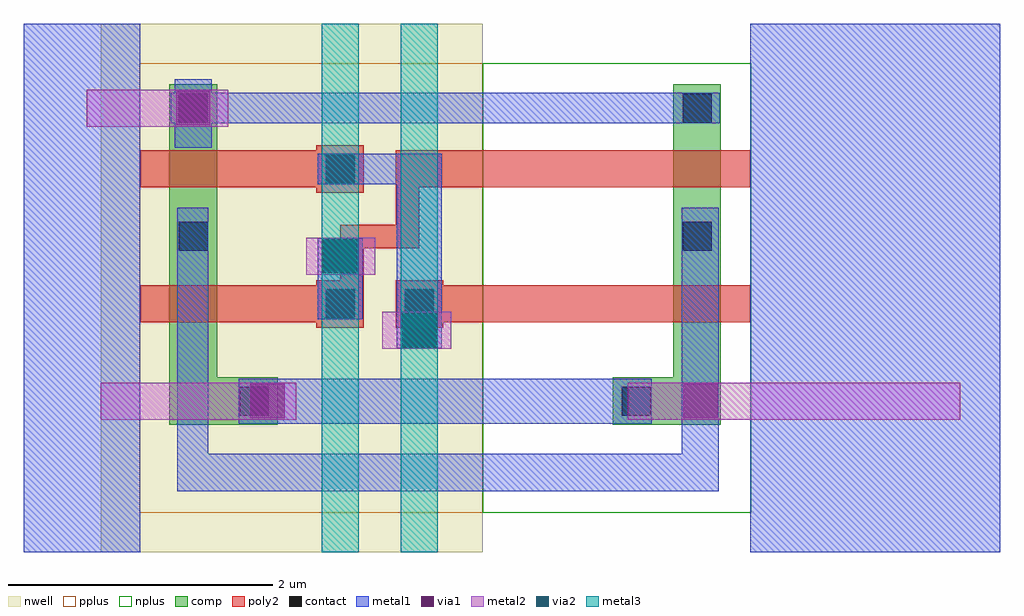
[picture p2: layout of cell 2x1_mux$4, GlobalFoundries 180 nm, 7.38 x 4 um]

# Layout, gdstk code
import gdstk
lib = gdstk.Library(unit=1e-6, precision=5e-09)
def R(c, l, rs):  # rectangles x0, y0, x1, y1
    for r in rs: c.add(gdstk.rectangle(r[:2], r[2:], *l))
nwell = (21, 0)
comp = (22, 0)
poly2 = (30, 0)
pplus = (31, 0)
nplus = (32, 0)
contact = (33, 0)
metal1 = (34, 0)
via1 = (35, 0)
metal2 = (36, 0)
via2 = (38, 0)
metal3 = (42, 0)

c_2x1_mux_4 = lib.new_cell('2x1_mux$4')
R(c_2x1_mux_4, nwell, [(-3.34,2.85,-0.45,6.85)])
R(c_2x1_mux_4, comp, [(-2.82,3.815,-2.46,6.39), (-2.46,3.815,-2,4.175), (0.53,3.815,0.99,4.175), (0.99,3.815,1.35,6.39)])
R(c_2x1_mux_4, poly2, [(-1.71,4.55,-1.35,4.91), (-1.11,4.55,-0.75,4.91), (-3.04,4.59,-1.71,4.87), (-0.75,4.59,1.57,4.87), (-1.53,4.91,-1.35,5.15), (-1.53,5.15,-0.93,5.33), (-1.11,5.33,-0.93,5.61), (-1.71,5.57,-1.35,5.93), (-3.04,5.61,-1.71,5.89), (-1.11,5.61,1.57,5.89)])
R(c_2x1_mux_4, pplus, [(-3.05,3.15,-0.45,6.55)])
R(c_2x1_mux_4, nplus, [(-0.45,3.15,1.58,6.55)])
R(c_2x1_mux_4, contact, [(-2.29,3.885,-2.07,4.105), (0.6,3.885,0.82,4.105), (-1.64,4.62,-1.42,4.84), (-1.04,4.62,-0.82,4.84), (-2.75,5.13,-2.53,5.35), (1.06,5.13,1.28,5.35), (-1.64,5.64,-1.42,5.86), (-2.75,6.1,-2.53,6.32), (1.06,6.1,1.28,6.32)])
R(c_2x1_mux_4, metal1, [(-3.92,2.85,-3.04,6.85), (1.57,2.85,3.46,6.85), (-2.76,3.315,-2.525,5.455), (-2.525,3.315,1.055,3.595), (1.055,3.315,1.335,5.455), (-2.295,3.825,0.825,4.165), (-1.1,4.395,-0.76,5.635), (-1.7,4.615,-1.36,5.225), (-1.7,5.635,-0.76,5.865), (-2.78,5.91,-2.5,6.43), (-2.81,6.095,1.34,6.325)])
R(c_2x1_mux_4, via1, [(-2.21,3.865,-1.95,4.125), (1.065,3.865,1.325,4.125), (-1.06,4.4,-0.8,4.66), (-1.66,4.96,-1.4,5.22), (-2.77,6.08,-2.51,6.34)])
R(c_2x1_mux_4, metal2, [(-3.34,3.855,-1.86,4.135), (0.645,3.855,3.16,4.135), (-1.21,4.39,-0.69,4.67), (-1.785,4.95,-1.265,5.23), (-3.445,6.07,-2.375,6.35)])
R(c_2x1_mux_4, via2, [(-1.06,4.4,-0.8,4.66), (-1.66,4.96,-1.4,5.22)])
R(c_2x1_mux_4, metal3, [(-1.67,2.85,-1.39,6.85), (-1.07,2.85,-0.79,6.85)])

lib.write_gds('2x1_mux_4.gds')
